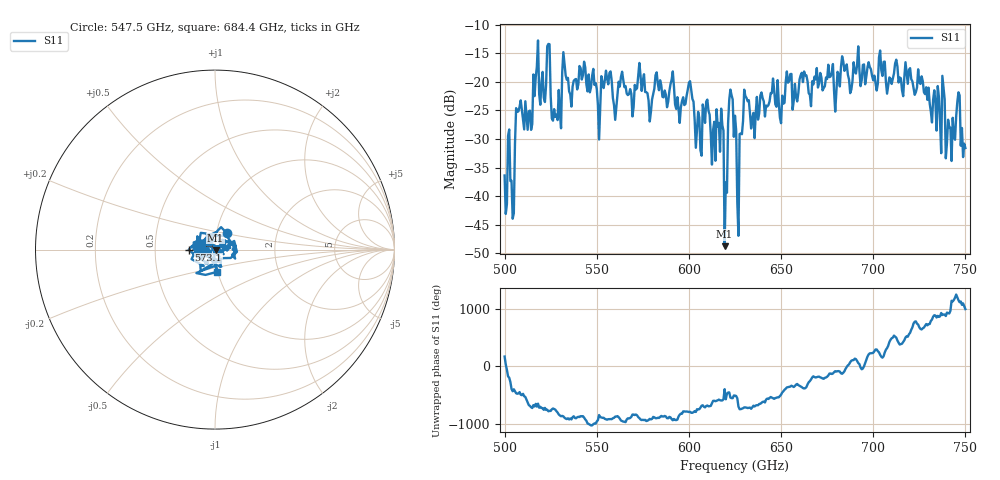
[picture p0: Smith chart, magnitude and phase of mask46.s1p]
!Created with skrf (http://scikit-rf.org).
# GHz S MA R 50.0
!freq magS11 angS11
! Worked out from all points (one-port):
!   401 points, 500 GHz to 750 GHz, reference 50 ohm
!   lowest |S11| = -48.7 dB at 619.4 GHz (marker M1), VSWR 1.01, Z = 50.3 - j0.217 ohm
!   |S11| at or under -10 dB: start of sweep to end of sweep
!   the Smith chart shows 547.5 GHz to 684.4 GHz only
!   S11 on the Smith chart (normalised r, x): 547.5 GHz: 1.12, +0.21; 573.1 GHz: 0.75, -0.00; 684.4 GHz: 0.99, -0.25
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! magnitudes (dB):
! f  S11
! 500 GHz  -36.4
! 504.4 GHz  -43.9
! 507.5 GHz  -25.2
! 513.8 GHz  -25.0
! 516.9 GHz  -19.3
! 520.6 GHz  -18.3
! 523.8 GHz  -13.4
! 526.9 GHz  -24.8
! 531.2 GHz  -18.4
! 547.5 GHz  -18.9
! 562.5 GHz  -20.8
! 573.1 GHz  -16.7
! 593.8 GHz  -22.7
! 600 GHz  -20.2
! 616.2 GHz  -27.2
! 619.4 GHz  -48.7
! 622.5 GHz  -21.4
! 625 GHz  -25.9
! 627.5 GHz  -29.1
! 631.2 GHz  -22.8
! 635 GHz  -25.4
! 656.2 GHz  -24.9
! 684.4 GHz  -18.1
! 687.5 GHz  -22.0
! 718.8 GHz  -20.4
! 740.6 GHz  -26.6
! 746.2 GHz  -21.8
! 750 GHz  -31.6
